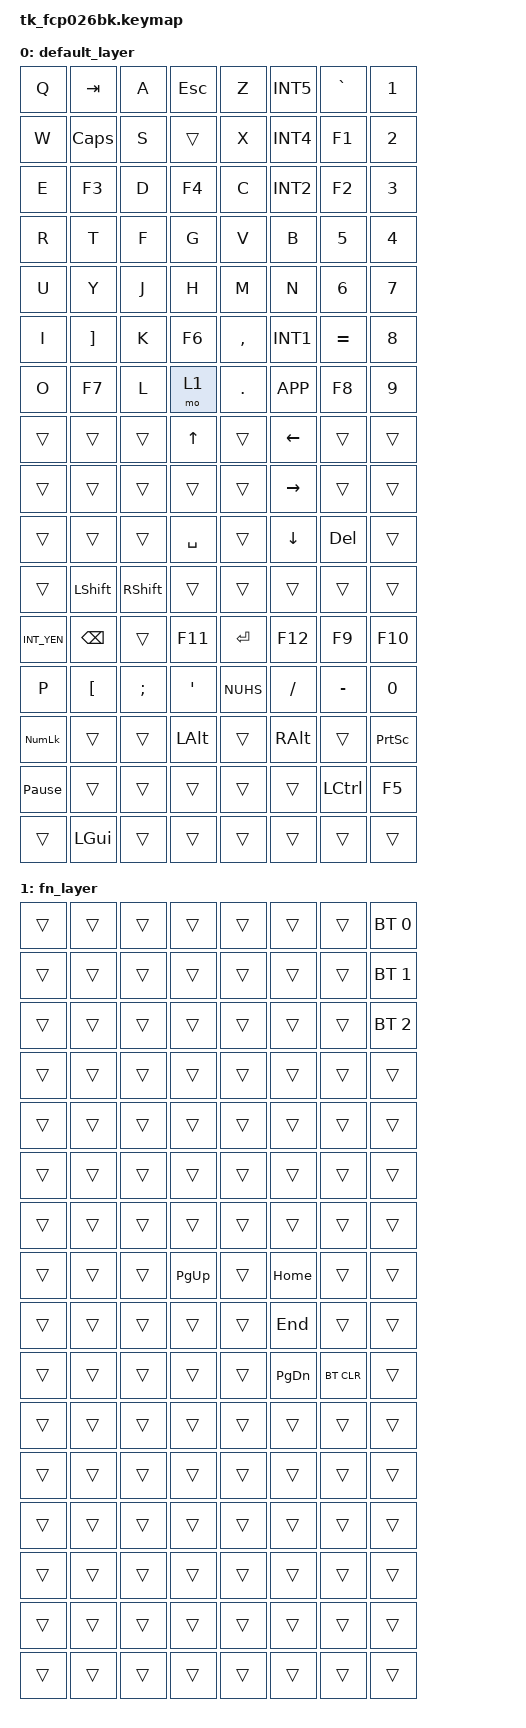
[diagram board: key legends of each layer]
/*
 * TK-FCP026BK Keymap v5
 * 86キー 日本語配列
 * 新配線: Col=XIAO(D0-D3,D5-D10)、Row=MCP23017(GPA0-7,GPB0-7)
 *
 * bindingsの並び順: Row行優先 16行×8列=128エントリ
 * Col: 0(D0) 1(D1) 2(D2) 3(D3) 4(D5) 5(D6) 6(D7) 7(D8/D10)
 *   ※実際のCol割り当てはoverlayのcol-gpiosの順序に従う
 */

#include <behaviors.dtsi>
#include <dt-bindings/zmk/keys.h>
#include <dt-bindings/zmk/bt.h>

/ {
    keymap {
        compatible = "zmk,keymap";

        default_layer {
            bindings = <
/* Col:           D0                D1                D2                D3                D5/D7             D6/D8(unused)     D7/D9             D8/D10        */
/* Row0  GPA0 */ &kp Q             &kp TAB           &kp A             &kp ESC           &kp Z             &kp INT5          &kp GRAVE         &kp N1            /* q        tab      a        esc      z        muhenka  zenkaku  1       */
/* Row1  GPA1 */ &kp W             &kp CAPS          &kp S             &trans            &kp X             &kp INT4          &kp F1            &kp N2            /* w        caps     s        ---      x        henkan   f1       2       */
/* Row2  GPA2 */ &kp E             &kp F3            &kp D             &kp F4            &kp C             &kp INT2          &kp F2            &kp N3            /* e        f3       d        f4       c        kana     f2       3       */
/* Row3  GPA3 */ &kp R             &kp T             &kp F             &kp G             &kp V             &kp B             &kp N5            &kp N4            /* r        t        f        g        v        b        5        4       */
/* Row4  GPA4 */ &kp U             &kp Y             &kp J             &kp H             &kp M             &kp N             &kp N6            &kp N7            /* u        y        j        h        m        n        6        7       */
/* Row5  GPA5 */ &kp I             &kp RBKT          &kp K             &kp F6            &kp COMMA         &kp INT1          &kp EQUAL         &kp N8            /* i        lbracke  k        f6       comma    bslash   caret    8       */
/* Row6  GPA6 */ &kp O             &kp F7            &kp L             &mo 1             &kp DOT           &kp K_APP         &kp F8            &kp N9            /* o        f7       l        fn       dot      menu     f8       9       */
/* Row7  GPA7 */ &trans            &trans            &trans            &kp UP            &trans            &kp LEFT          &trans            &trans            /* ---      ---      ---      up       ---      left     ---      ---     */
/* Row8  GPB0 */ &trans            &trans            &trans            &trans            &trans            &kp RIGHT         &trans            &trans            /* ---      ---      ---      ---      ---      right    ---      ---     */
/* Row9  GPB1 */ &trans            &trans            &trans            &kp SPACE         &trans            &kp DOWN          &kp DEL           &trans            /* ---      ---      ---      space    ---      down     del      ---     */
/* Row10 GPB2 */ &trans            &kp LSHFT         &kp RSHFT         &trans            &trans            &trans            &trans            &trans            /* ---      lshift   rshift   ---      ---      ---      ---      ---     */
/* Row11 GPB3 */ &kp INT_YEN       &kp BSPC          &trans            &kp F11           &kp RET           &kp F12           &kp F9            &kp F10           /* yen      back     ---      f11      enter    f12      f9       f10     */
/* Row12 GPB4 */ &kp P             &kp LBKT          &kp SEMI          &kp QUOT          &kp NUHS          &kp FSLH          &kp MINUS         &kp N0            /* p        at       semi     colon    rbracke  slash    minus    0       */
/* Row13 GPB5 */ &kp KP_NUM        &trans            &trans            &kp LALT          &trans            &kp RALT          &trans            &kp PSCRN         /* numlock  ---      ---      lalt     ---      ralt     ---      prtsc   */
/* Row14 GPB6 */ &kp PAUSE_BREAK   &trans            &trans            &trans            &trans            &trans            &kp LCTRL         &kp F5            /* pause    ---      ---      ---      ---      ---      lctrl    f5      */
/* Row15 GPB7 */ &trans            &kp LGUI          &trans            &trans            &trans            &trans            &trans            &trans            /* ---      win      ---      ---      ---      ---      ---      ---     */
            >;
        };

        fn_layer {
            bindings = <
/* Row0  GPA0 */ &trans            &trans            &trans            &trans            &trans            &trans            &trans            &bt BT_SEL 0    
/* Row1  GPA1 */ &trans            &trans            &trans            &trans            &trans            &trans            &trans            &bt BT_SEL 1    
/* Row2  GPA2 */ &trans            &trans            &trans            &trans            &trans            &trans            &trans            &bt BT_SEL 2    
/* Row3  GPA3 */ &trans            &trans            &trans            &trans            &trans            &trans            &trans            &trans          
/* Row4  GPA4 */ &trans            &trans            &trans            &trans            &trans            &trans            &trans            &trans          
/* Row5  GPA5 */ &trans            &trans            &trans            &trans            &trans            &trans            &trans            &trans          
/* Row6  GPA6 */ &trans            &trans            &trans            &trans            &trans            &trans            &trans            &trans          
/* Row7  GPA7 */ &trans            &trans            &trans            &kp PG_UP         &trans            &kp HOME          &trans            &trans          
/* Row8  GPB0 */ &trans            &trans            &trans            &trans            &trans            &kp END           &trans            &trans          
/* Row9  GPB1 */ &trans            &trans            &trans            &trans            &trans            &kp PG_DN         &bt BT_CLR        &trans          
/* Row10 GPB2 */ &trans            &trans            &trans            &trans            &trans            &trans            &trans            &trans          
/* Row11 GPB3 */ &trans            &trans            &trans            &trans            &trans            &trans            &trans            &trans          
/* Row12 GPB4 */ &trans            &trans            &trans            &trans            &trans            &trans            &trans            &trans          
/* Row13 GPB5 */ &trans            &trans            &trans            &trans            &trans            &trans            &trans            &trans          
/* Row14 GPB6 */ &trans            &trans            &trans            &trans            &trans            &trans            &trans            &trans          
/* Row15 GPB7 */ &trans            &trans            &trans            &trans            &trans            &trans            &trans            &trans          
            >;
        };
    };
};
